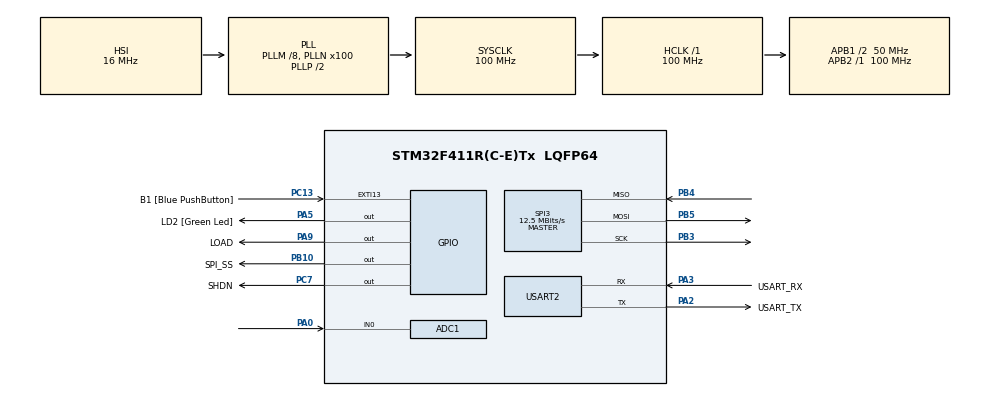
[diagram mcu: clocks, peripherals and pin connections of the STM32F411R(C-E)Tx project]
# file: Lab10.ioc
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Mcu.Family=STM32F4
PB10.PinState=GPIO_PIN_SET
RCC.CortexFreq_Value=100000000
SPI3.Direction=SPI_DIRECTION_2LINES
SPI3.VirtualType=VM_MASTER
PA14.GPIO_Label=TCK
RCC.SYSCLKSource=RCC_SYSCLKSOURCE_PLLCLK
ProjectManager.StackSize=0x400
NVIC.ADC_IRQn=true\:0\:0\:false\:false\:true\:true\:true
PH0\ -\ OSC_IN.Signal=RCC_OSC_IN
RCC.RCC_RTC_Clock_Source=RCC_RTCCLKSOURCE_LSI
RCC.HCLKFreq_Value=100000000
RCC.APB2TimFreq_Value=100000000
TIM3.Period=100
Dma.ADC1.0.Direction=DMA_PERIPH_TO_MEMORY
PC7.Signal=GPIO_Output
ADC1.InjNumberOfConversion=1
NVIC.DMA2_Stream0_IRQn=true\:0\:0\:false\:false\:true\:false\:true
Dma.ADC1.0.MemDataAlignment=DMA_MDATAALIGN_HALFWORD
RCC.AHBFreq_Value=100000000
SPI3.DataSize=SPI_DATASIZE_16BIT
ADC1.Channel-0\#ChannelRegularConversion=ADC_CHANNEL_0
NVIC.TIM1_TRG_COM_TIM11_IRQn=true\:0\:0\:false\:false\:true\:true\:true
RCC.HSE_VALUE=8000000
PB3.Mode=Full_Duplex_Master
ADC1.ScanConvMode=ENABLE
PC13-ANTI_TAMP.Signal=GPXTI13
PB4.Mode=Full_Duplex_Master
PC14-OSC32_IN.Mode=LSE-External-Oscillator
PA14.Mode=Serial_Wire
TIM3.Prescaler=99
Dma.ADC1.0.PeriphInc=DMA_PINC_DISABLE
PB5.Mode=Full_Duplex_Master
PC7.PinState=GPIO_PIN_SET
SH.ADCx_IN0.0=ADC1_IN0,IN0
ADC1.SamplingTime-0\#ChannelRegularConversion=ADC_SAMPLETIME_3CYCLES
RCC.FLatency-AdvancedSettings=FLASH_LATENCY_3
Mcu.Package=LQFP64
SPI3.Mode=SPI_MODE_MASTER
USART2.VirtualMode=VM_ASYNC
ADC1.SamplingTime-1\#ChannelInjectedConversion=ADC_SAMPLETIME_3CYCLES
PA2.GPIO_Label=USART_TX
NVIC.SPI3_IRQn=true\:0\:0\:false\:false\:true\:true\:true
RCC.APB1TimFreq_Value=100000000
Dma.ADC1.0.FIFOMode=DMA_FIFOMODE_DISABLE
Dma.Request0=ADC1
VP_TIM3_VS_ClockSourceINT.Mode=Internal
PB4.Signal=SPI3_MISO
PA3.Signal=USART2_RX
PC15-OSC32_OUT.Mode=LSE-External-Oscillator
Dma.ADC1.0.Instance=DMA2_Stream0
ADC1.Rank-0\#ChannelRegularConversion=1
PC13-ANTI_TAMP.GPIO_Label=B1 [Blue PushButton]
PA9.GPIO_Label=LOAD
PH1\ -\ OSC_OUT.Mode=HSE-External-Clock-Source
TIM11.Prescaler=99
RCC.APB1CLKDivider=RCC_HCLK_DIV2
PC14-OSC32_IN.Signal=RCC_OSC32_IN
NVIC.USART2_IRQn=true\:0\:0\:false\:false\:true\:true\:true
PA0-WKUP.Signal=ADCx_IN0
VP_TIM11_VS_ClockSourceINT.Mode=Enable_Timer
PA13.Signal=SYS_JTMS-SWDIO
PA3.Mode=Asynchronous
Dma.ADC1.0.PeriphDataAlignment=DMA_PDATAALIGN_HALFWORD
PH0\ -\ OSC_IN.Mode=HSE-External-Clock-Source
ProjectManager.TargetToolchain=STM32CubeIDE
PB10.GPIO_Label=SPI_SS
Dma.ADC1.0.Mode=DMA_CIRCULAR
Dma.ADC1.0.Priority=DMA_PRIORITY_LOW
PA9.Signal=GPIO_Output
PA9.PinState=GPIO_PIN_SET
ADC1.Channel-1\#ChannelInjectedConversion=ADC_CHANNEL_0
PC15-OSC32_OUT.Signal=RCC_OSC32_OUT
PB10.Signal=GPIO_Output
PA5.Signal=GPIO_Output
PH1\ -\ OSC_OUT.Signal=RCC_OSC_OUT
board=NUCLEO-F411RE
RCC.VCOOutputFreq_Value=200000000
RCC.APB2Freq_Value=100000000
SPI3.CalculateBaudRate=12.5 MBits/s
ADC1.InjectedOffset-1\#ChannelInjectedConversion=0
SPI3.BaudRatePrescaler=SPI_BAUDRATEPRESCALER_4
RCC.RCC_RTC_Clock_SourceVirtual=RCC_RTCCLKSOURCE_LSI
ADC1.DMAContinuousRequests=ENABLE
PA13.Mode=Serial_Wire
Mcu.Name=STM32F411R(C-E)Tx
PA2.Signal=USART2_TX
PA13.GPIO_Label=TMS
ADC1.ExternalTrigConv=ADC_EXTERNALTRIGCONV_T3_TRGO
PC7.GPIO_Label=SHDN
RCC.48MHZClocksFreq_Value=50000000
PB3.Signal=SPI3_SCK
RCC.SYSCLKFreq_VALUE=100000000
PB5.Signal=SPI3_MOSI
ADC1.master=1
PA5.GPIO_Label=LD2 [Green Led]
PC13-ANTI_TAMP.GPIO_ModeDefaultEXTI=GPIO_MODE_IT_FALLING
PA14.Signal=SYS_JTCK-SWCLK
Dma.ADC1.0.MemInc=DMA_MINC_ENABLE
ProjectManager.HeapSize=0x200
RCC.HSI_VALUE=16000000
NVIC.PriorityGroup=NVIC_PRIORITYGROUP_0
ADC1.NbrOfConversionFlag=1
RCC.PLLM=8
RCC.PLLN=100
PA2.Mode=Asynchronous
ADC1.InjectedRank-1\#ChannelInjectedConversion=1
TIM3.TIM_MasterOutputTrigger=TIM_TRGO_UPDATE
RCC.APB1Freq_Value=50000000
PA3.GPIO_Label=USART_RX

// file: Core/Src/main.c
/* USER CODE BEGIN Header */
/**
 ******************************************************************************
 * @file           : main.c
 * @brief          : Main program body
 ******************************************************************************
 * @attention
 *
 * <h2><center>&copy; Copyright (c) 2021 STMicroelectronics.
 * All rights reserved.</center></h2>
 *
 * This software component is licensed by ST under BSD 3-Clause license,
 * the "License"; You may not use this file except in compliance with the
 * License. You may obtain a copy of the License at:
 *                        opensource.org/licenses/BSD-3-Clause
 *
 ******************************************************************************
 */
/* USER CODE END Header */
#include "main.h"

/* USER CODE BEGIN Includes */
#include <stdio.h>
#include <string.h>
#include <math.h>
/* USER CODE END Includes */

ADC_HandleTypeDef hadc1;
DMA_HandleTypeDef hdma_adc1;

SPI_HandleTypeDef hspi3;

TIM_HandleTypeDef htim3;
TIM_HandleTypeDef htim11;

UART_HandleTypeDef huart2;

/* USER CODE BEGIN PV */
uint16_t ADCin = 0;
uint64_t _micro = 0;
uint16_t dataOut = 0;
uint16_t Sawtooth = 0;
uint8_t DACConfig = 0b0011;
uint64_t Timestat = 0;
int Wave = 0;
int Sin_value=0;
char TxDataBuffer[122] =
{ 0 };
char RxDataBuffer[32] =
{ 0 };
char Status[17]=
{0};
uint8_t Kwarmchan = 0;

int Duty = 50;
float duty_cycle;
int Freq = 10;
float Period_cut=0;
float Pcount = 0;
int V_max =33;
int V_min =0;
uint8_t state =0;
uint8_t ucount=0;
uint8_t pcount=0;
enum Menu{
  Menu_First_Present=0,
  Menu_First,
  Menu_SAWTOOTH_Present=10,
  Menu_SAWTOOTH,
  Menu_SIN_Present=20,
  Menu_SIN,
  Menu_SQUARE_Present =30,
  Menu_SQUARE
};
char error[]="-Error-\r\n--------------------------------\r\n";
/* USER CODE END PV */

void SystemClock_Config(void);
static void MX_GPIO_Init(void);
static void MX_DMA_Init(void);
static void MX_USART2_UART_Init(void);
static void MX_ADC1_Init(void);
static void MX_SPI3_Init(void);
static void MX_TIM3_Init(void);
static void MX_TIM11_Init(void);
/* USER CODE BEGIN PFP */
void MCP4922SetOutput(uint8_t Config, uint16_t DACOutput);
uint64_t micros();
int16_t UARTRecieveIT();
/* USER CODE END PFP */

int main(void)
{

  /* MCU Configuration--------------------------------------------------------*/

  /* Reset of all peripherals, Initializes the Flash interface and the Systick. */
  HAL_Init();

  /* Configure the system clock */
  SystemClock_Config();

  /* Initialize all configured peripherals */
  MX_GPIO_Init();
  MX_DMA_Init();
  MX_USART2_UART_Init();
  MX_ADC1_Init();
  MX_SPI3_Init();
  MX_TIM3_Init();
  MX_TIM11_Init();
  /* USER CODE BEGIN 2 */
	HAL_TIM_Base_Start(&htim3);
	HAL_TIM_Base_Start_IT(&htim11);
	HAL_ADC_Start_DMA(&hadc1, (uint32_t*) &ADCin, 1);

	HAL_GPIO_WritePin(LOAD_GPIO_Port, LOAD_Pin, GPIO_PIN_RESET);
  /* USER CODE END 2 */

  /* Infinite loop */
  /* USER CODE BEGIN WHILE */
	while (1)
	{
		HAL_UART_Receive_IT(&huart2,  (uint8_t*)RxDataBuffer, 32);
				/*Method 2 W/ 1 Char Received*/
		int16_t inputchar = UARTRecieveIT();
		static uint64_t timestamp = 0;
		switch (state)
			{
			   case Menu_First_Present:
				  sprintf(TxDataBuffer,"Function-GEN\r\npress_a_to_SAWTOOTH\r\npress_s_to_SIN\r\npress_d_to_SQUARE\r\n------------\r\n");
				  HAL_UART_Transmit(&huart2, (uint8_t*)TxDataBuffer, strlen(TxDataBuffer),10);
				  state = Menu_First;
				  break;

			   case Menu_First:
				   Wave=0;
					   switch (inputchar)
					   {
					   case 'a':
						   Wave =1;
						 state = Menu_SAWTOOTH_Present;
						 break;
					   case 's':
						   Wave =2;
						 state = Menu_SIN_Present;
						 break;
					   case 'd':
						   Wave =3;
						 state = Menu_SQUARE_Present;
						 break;
					   case -1:
						 break;
					   default:
						  // HAL_UART_Transmit(&huart2, (uint8_t*)error, strlen(error),10);
							state = Menu_First_Present;
						 break;
					   }
					   	break;
			  case Menu_SAWTOOTH_Present:
						 sprintf(TxDataBuffer,"SAWTOOTH-Gen\r\nFrequency(q+/w-)\r\nV-high(r+/t-)\r\nV-low(y+/u-)\r\nSlope Up/Down(c)\r\ne-Exit\r\n------------\r\n");
						 HAL_UART_Transmit(&huart2, (uint8_t*)TxDataBuffer, strlen(TxDataBuffer),10);
						 state = Menu_SAWTOOTH;
						 break;
			 case Menu_SAWTOOTH:
				   switch (inputchar)
				   {
					   case 'q':
						   if(Freq<100)
						   {
							   Freq+=1;
						   }
						   if(Freq<10)
						   {
							sprintf(Status,"Frequency=[0.%d]\r\n",Freq);
						   }
						   else if (Freq>=10)
						   {
							sprintf(Status,"Frequency=[%d.%d]\r\n",Freq/10,Freq%10);
						   }
						   HAL_UART_Transmit(&huart2, (uint8_t*)Status, strlen(Status),10);
						   break;

					   case 'w':

							if(Freq>0)
							{
								Freq-=1;
							}
							if(Freq<10)
							{
							sprintf(Status,"Frequency=[0.%d]\r\n",Freq);
							}
							else if (Freq>=10)
							{
							sprintf(Status,"Frequency=[%d.%d]\r\n",Freq/10,Freq%10);
							}
							HAL_UART_Transmit(&huart2, (uint8_t*)Status, strlen(Status),10);
							break;

					   case 'r':
						   if(V_max<33)
						   {
							   V_max+=1;
						   }
							if(V_max<10){
							   sprintf(Status,"V-HIGH=[0.%d]\r\n",V_max);
						   }else if(V_max>=10)
						   {
							   sprintf(Status,"V-HIGH=[%d.%d]\r\n",V_max/10,V_max%10);
						   }
							HAL_UART_Transmit_IT(&huart2, (uint8_t*)Status, strlen(Status));
						   break;
					   case 't':
						 if(V_max>V_min){
							 V_max-=1;
					    }
						 if(V_max<10){
							  sprintf(Status,"V-HIGH=[0.%d]\r\n",V_max);
						}else if(V_max>=10)
						{
							  sprintf(Status,"V-HIGH=[%d.%d]\r\n",V_max/10,V_max%10);
				        }
						      HAL_UART_Transmit_IT(&huart2, (uint8_t*)Status, strlen(Status));
						     break;
					   case 'y':
							if(V_min<V_max){
							  V_min+=1;
						   }
							if(V_min<10){
							   sprintf(Status,"V-LOW=[0.%d]\r\n",V_min);
							}else if(V_min>=10)
							{
							   sprintf(Status,"V-LOW=[%d.%d]\r\n",V_min/10,V_min%10);
							}
							 HAL_UART_Transmit_IT(&huart2, (uint8_t*)Status, strlen(Status));
							 break;
					   case 'u':
							 if(V_min>0){
							   V_min-=1;
							 }
							 if(V_min<10){
								sprintf(Status,"V-LOW=[0.%d]\r\n",V_min);
							}else if(V_min>=10)
							{
								sprintf(Status,"V-LOW=[%d.%d]\r\n",V_min/10,V_min%10);
							}
							 HAL_UART_Transmit_IT(&huart2, (uint8_t*)Status, strlen(Status));
							break;
					   case 'c':
						   if(Kwarmchan == 0){
							   Kwarmchan=1;
							  sprintf(Status,"SLOPE-UP\r\n");
							  HAL_UART_Transmit_IT(&huart2, (uint8_t*)Status, strlen(Status));
						  }else if(Kwarmchan == 1){
							  Kwarmchan=0;
							  sprintf(Status,"SLOPE-DOWN\r\n");
						  }
							  HAL_UART_Transmit_IT(&huart2, (uint8_t*)Status, strlen(Status));
						   break;
					   case 'e':
						 state = Menu_First_Present;
						 break;
					   case -1:
						 break;
					   default:
						   HAL_UART_Transmit(&huart2, (uint8_t*)error, strlen(error),10);
						   state = Menu_SAWTOOTH_Present;
						 break;
				   }
				   break;

		   case Menu_SIN_Present:
						 sprintf(TxDataBuffer,"SIN_WAVE-Gen\r\nFrequency(q+/w-)\r\nV-high(r+/t-)\r\nV-low(y+/u-)\r\ne-Exit\r\n------------\r\n");
						 HAL_UART_Transmit(&huart2, (uint8_t*)TxDataBuffer, strlen(TxDataBuffer),10);
						 state = Menu_SIN;
						 break;
		   case Menu_SIN:
				   switch (inputchar)
				   {
					case 'q':
						   if(Freq<100){
							  Freq+=1;
						   }
						   if(Freq<10){
							sprintf(Status,"Frequency=[0.%d]\r\n",Freq);
						   }else if(Freq>=10)
						   {
							sprintf(Status,"Frequency=[%d.%d]\r\n",Freq/10,Freq%10);
						   }
						   HAL_UART_Transmit(&huart2, (uint8_t*)Status, strlen(Status),10);
						   break;
				   case 'w':
							if(Freq>0){
								 Freq-=1;
							}
							if(Freq<10){
							   sprintf(Status,"Frequency=[0.%d]\r\n",Freq);
							}else if(Freq>=10)
							{
							   sprintf(Status,"Frequency=[%d.%d]\r\n",Freq/10,Freq%10);
							}
							 HAL_UART_Transmit(&huart2, (uint8_t*)Status, strlen(Status),10);
							break;
				   case 'r':
						   if(V_max<33){
							   V_max+=1;
						   }
							if(V_max<10){
							   sprintf(Status,"V-HIGH=[0.%d]\r\n",V_max);
						   }else if(V_max>=10)
						   {
							   sprintf(Status,"V-HIGH=[%d.%d]\r\n",V_max/10,V_max%10);
						   }
							HAL_UART_Transmit_IT(&huart2, (uint8_t*)Status, strlen(Status));
						   break;
				   case 't':
							 if(V_max>V_min){
								V_max-=1;
							  }
							 if(V_max<10){
								  sprintf(Status,"V-HIGH=[0.%d]\r\n",V_max);
							}else if(V_max>=10)
							{
								  sprintf(Status,"V-HIGH=[%d.%d]\r\n",V_max/10,V_max%10);
							}
							   HAL_UART_Transmit_IT(&huart2, (uint8_t*)Status, strlen(Status));
							   break;
				   case 'y':
							if(V_min<V_max){
							   V_min+=1;
						   }
							if(V_min<10){
							   sprintf(Status,"V-LOW=[0.%d]\r\n",V_min);
							}else if(V_min>=10)
							{
							   sprintf(Status,"V-LOW=[%d.%d]\r\n",V_min/10,V_min%10);
							}
							 HAL_UART_Transmit_IT(&huart2, (uint8_t*)Status, strlen(Status));
							 break;
				   case 'u':
							 if(V_min>0){
								V_min-=1;
							}
							 if(V_min<10){
								sprintf(Status,"V-LOW=[0.%d]\r\n",V_min);
							}else if(V_min>=10)
							{
								sprintf(Status,"V-LOW=[%d.%d]\r\n",V_min/10,V_min%10);
							}
							 HAL_UART_Transmit_IT(&huart2, (uint8_t*)Status, strlen(Status));
							break;
				   case 'e':
							 state = Menu_First_Present;
							break;
				   case -1:
							break;
				   default:
						   HAL_UART_Transmit(&huart2, (uint8_t*)error, strlen(error),10);
						   state = Menu_SIN_Present;
						   break;
				   }
				   break;
		   case Menu_SQUARE_Present:
		   		sprintf(TxDataBuffer,"SQUARE-Gen\r\nFreq(q+/w-)\r\nV-high(r+/t-)\r\nV-low(y+/u-)\r\nDUTY(i+/o-)\r\ne-Exit\r\n------------\r\n");
		   		HAL_UART_Transmit(&huart2, (uint8_t*)TxDataBuffer, strlen(TxDataBuffer),10);
		   		state = Menu_SQUARE;
		   		break;
		   case Menu_SQUARE:
				switch (inputchar)
					{
					 case 'q':
							 if(Freq<100){
								Freq += 1;
							}else{
							}
							 if(Freq<10)
							{
								sprintf(Status,"Frequency=[0.%d]\r\n",Freq);
							}else if(Freq>=10)\
							{
							 sprintf(Status,"Frequency=[%d.%d]\r\n",Freq/10,Freq%10);
							}
							 HAL_UART_Transmit(&huart2, (uint8_t*)Status, strlen(Status),10);
							 break;
					 case 'w':
							 if(Freq>0){
								 Freq-=1;
							}
							  if(Freq<10)
							 {
								 sprintf(Status,"Frequency=[0.%d]\r\n",Freq);
							 }else if(Freq>=10)
							 {
								 sprintf(Status,"Frequency=[%d.%d]\r\n",Freq/10,Freq%10);
							 }
							  HAL_UART_Transmit(&huart2, (uint8_t*)Status, strlen(Status),10);
							 break;
					case 'r':
							  if(V_max<33){
								 V_max+=1;
							 }
							  if(V_max<10){
								 sprintf(Status,"V-HIGH=[0.%d]\r\n",V_max);
							 }else if(V_max>=10)
							 {
								 sprintf(Status,"V-HIGH=[%d.%d]\r\n",V_max/10,V_max%10);
							 }
							  HAL_UART_Transmit_IT(&huart2, (uint8_t*)Status, strlen(Status));
							 break;
					case 't':
							 if(V_max>V_min){
								 V_max-=1;
							}
							 if(V_max<10){
								sprintf(Status,"V-HIGH=[0.%d]\r\n",V_max);
							}else{
								sprintf(Status,"V-HIGH=[%d.%d]\r\n",V_max/10,V_max%10);
							}
							 HAL_UART_Transmit_IT(&huart2, (uint8_t*)Status, strlen(Status));
							 break;
					case 'y':
							 if(V_min<V_max){
								V_min+=1;
							}
							 if(V_min<10){
								sprintf(Status,"V-LOW=[0.%d]\r\n",V_min);
							}else if(V_min>=10){
								sprintf(Status,"V-LOW=[%d.%d]\r\n",V_min/10,V_min%10);
							}
								HAL_UART_Transmit_IT(&huart2, (uint8_t*)Status, strlen(Status));
							 break;
					case 'u':
							 if(V_min>0){
								V_min-=1;
							}
							  if(V_min<10){
								 sprintf(Status,"V-LOW=[0.%d]\r\n",V_min);
							 }else if(V_min>=10){
								 sprintf(Status,"V-LOW=[%d.%d]\r\n",V_min/10,V_min%10);
							 }
								 HAL_UART_Transmit_IT(&huart2, (uint8_t*)Status, strlen(Status));
								break;
					case 'e':
							state = Menu_First_Present;
							break;
					case 'i':
							if(Duty<100){
							   Duty+=1;
						   }
							sprintf(Status,"DUTY=[%d]\r\n",Duty);
							HAL_UART_Transmit_IT(&huart2, (uint8_t*)Status, strlen(Status));
							break;
					 case 'o':
							if(Duty>0){
								Duty-=1;
						   }
							sprintf(Status,"DUTY=[%d]\r\n",Duty);
							HAL_UART_Transmit_IT(&huart2, (uint8_t*)Status, strlen(Status));
							break;
					case -1:
							break;
					default:
							HAL_UART_Transmit(&huart2, (uint8_t*)error, strlen(error),10);
							state = Menu_SQUARE_Present;
						   break;
					   }
			   break;
			   }
		if (micros() - timestamp > 100)
		{
			timestamp = micros();
			Pcount +=0.0001;
			if(Freq!=0){
				float freq = Freq;
			if(Pcount>=(10/freq)){
								Pcount = 0;
							}
			}
			if(Wave==1){
				Sawtooth =0.0000001*timestamp*4095*Freq;//genslope
				if(Kwarmchan==1){
				Sawtooth = Sawtooth%4095;//slope-cut
				}else if(Kwarmchan==0)
				{
					Sawtooth %= 4095;
					Sawtooth =4095-Sawtooth;
					//dataOut--;
				if(Sawtooth<=0){
					Sawtooth = 4095 ;//resetslope
				}
				}
				Sawtooth = Sawtooth*(V_max-V_min)/33; //amplify
				dataOut = Sawtooth+(V_min*4095)/33; //offset
			}else if(Wave==2){
				Sin_value = 2048*sin(2*3.14*Freq*0.0000001*timestamp);//sin(2*pi*f*t)
				Sin_value = Sin_value*(V_max-V_min)/33; //amplify
				dataOut = Sin_value+(409.6*(V_max+V_min)/6.6); //offset
			}else if(Wave==3 && Freq!=0){
				duty_cycle=Duty;
				Period_cut = duty_cycle/(10*Freq);
				if(Pcount<=Period_cut){
					dataOut = 4095*V_max/33;
				}
				else if(Pcount>Period_cut){
					dataOut = 4095*V_min/33;
				}
			}else{
				dataOut = 4095;
			}

			if (hspi3.State == HAL_SPI_STATE_READY
					&& HAL_GPIO_ReadPin(SPI_SS_GPIO_Port, SPI_SS_Pin)
							== GPIO_PIN_SET)
			{
				MCP4922SetOutput(DACConfig, dataOut);
			}
		}
    /* USER CODE END WHILE */

	}
}

void SystemClock_Config(void)
{
  RCC_OscInitTypeDef RCC_OscInitStruct = {0};
  RCC_ClkInitTypeDef RCC_ClkInitStruct = {0};

  /** Configure the main internal regulator output voltage
  */
  __HAL_RCC_PWR_CLK_ENABLE();
  __HAL_PWR_VOLTAGESCALING_CONFIG(PWR_REGULATOR_VOLTAGE_SCALE1);
  /** Initializes the RCC Oscillators according to the specified parameters
  * in the RCC_OscInitTypeDef structure.
  */
  RCC_OscInitStruct.OscillatorType = RCC_OSCILLATORTYPE_HSI;
  RCC_OscInitStruct.HSIState = RCC_HSI_ON;
  RCC_OscInitStruct.HSICalibrationValue = RCC_HSICALIBRATION_DEFAULT;
  RCC_OscInitStruct.PLL.PLLState = RCC_PLL_ON;
  RCC_OscInitStruct.PLL.PLLSource = RCC_PLLSOURCE_HSI;
  RCC_OscInitStruct.PLL.PLLM = 8;
  RCC_OscInitStruct.PLL.PLLN = 100;
  RCC_OscInitStruct.PLL.PLLP = RCC_PLLP_DIV2;
  RCC_OscInitStruct.PLL.PLLQ = 4;
  if (HAL_RCC_OscConfig(&RCC_OscInitStruct) != HAL_OK)
  {
    Error_Handler();
  }
  /** Initializes the CPU, AHB and APB buses clocks
  */
  RCC_ClkInitStruct.ClockType = RCC_CLOCKTYPE_HCLK|RCC_CLOCKTYPE_SYSCLK
                              |RCC_CLOCKTYPE_PCLK1|RCC_CLOCKTYPE_PCLK2;
  RCC_ClkInitStruct.SYSCLKSource = RCC_SYSCLKSOURCE_PLLCLK;
  RCC_ClkInitStruct.AHBCLKDivider = RCC_SYSCLK_DIV1;
  RCC_ClkInitStruct.APB1CLKDivider = RCC_HCLK_DIV2;
  RCC_ClkInitStruct.APB2CLKDivider = RCC_HCLK_DIV1;

  if (HAL_RCC_ClockConfig(&RCC_ClkInitStruct, FLASH_LATENCY_3) != HAL_OK)
  {
    Error_Handler();
  }
}

static void MX_ADC1_Init(void)
{

  ADC_ChannelConfTypeDef sConfig = {0};
  ADC_InjectionConfTypeDef sConfigInjected = {0};

  /** Configure the global features of the ADC (Clock, Resolution, Data Alignment and number of conversion)
  */
  hadc1.Instance = ADC1;
  hadc1.Init.ClockPrescaler = ADC_CLOCK_SYNC_PCLK_DIV4;
  hadc1.Init.Resolution = ADC_RESOLUTION_12B;
  hadc1.Init.ScanConvMode = ENABLE;
  hadc1.Init.ContinuousConvMode = DISABLE;
  hadc1.Init.DiscontinuousConvMode = DISABLE;
  hadc1.Init.ExternalTrigConvEdge = ADC_EXTERNALTRIGCONVEDGE_RISING;
  hadc1.Init.ExternalTrigConv = ADC_EXTERNALTRIGCONV_T3_TRGO;
  hadc1.Init.DataAlign = ADC_DATAALIGN_RIGHT;
  hadc1.Init.NbrOfConversion = 1;
  hadc1.Init.DMAContinuousRequests = ENABLE;
  hadc1.Init.EOCSelection = ADC_EOC_SINGLE_CONV;
  if (HAL_ADC_Init(&hadc1) != HAL_OK)
  {
    Error_Handler();
  }
  /** Configure for the selected ADC regular channel its corresponding rank in the sequencer and its sample time.
  */
  sConfig.Channel = ADC_CHANNEL_0;
  sConfig.Rank = 1;
  sConfig.SamplingTime = ADC_SAMPLETIME_3CYCLES;
  if (HAL_ADC_ConfigChannel(&hadc1, &sConfig) != HAL_OK)
  {
    Error_Handler();
  }
  /** Configures for the selected ADC injected channel its corresponding rank in the sequencer and its sample time
  */
  sConfigInjected.InjectedChannel = ADC_CHANNEL_0;
  sConfigInjected.InjectedRank = 1;
  sConfigInjected.InjectedNbrOfConversion = 1;
  sConfigInjected.InjectedSamplingTime = ADC_SAMPLETIME_3CYCLES;
  sConfigInjected.ExternalTrigInjecConvEdge = ADC_EXTERNALTRIGINJECCONVEDGE_NONE;
  sConfigInjected.ExternalTrigInjecConv = ADC_INJECTED_SOFTWARE_START;
  sConfigInjected.AutoInjectedConv = DISABLE;
  sConfigInjected.InjectedDiscontinuousConvMode = DISABLE;
  sConfigInjected.InjectedOffset = 0;
  if (HAL_ADCEx_InjectedConfigChannel(&hadc1, &sConfigInjected) != HAL_OK)
  {
    Error_Handler();
  }

}

static void MX_SPI3_Init(void)
{

  /* SPI3 parameter configuration*/
  hspi3.Instance = SPI3;
  hspi3.Init.Mode = SPI_MODE_MASTER;
  hspi3.Init.Direction = SPI_DIRECTION_2LINES;
  hspi3.Init.DataSize = SPI_DATASIZE_16BIT;
  hspi3.Init.CLKPolarity = SPI_POLARITY_LOW;
  hspi3.Init.CLKPhase = SPI_PHASE_1EDGE;
  hspi3.Init.NSS = SPI_NSS_SOFT;
  hspi3.Init.BaudRatePrescaler = SPI_BAUDRATEPRESCALER_4;
  hspi3.Init.FirstBit = SPI_FIRSTBIT_MSB;
  hspi3.Init.TIMode = SPI_TIMODE_DISABLE;
  hspi3.Init.CRCCalculation = SPI_CRCCALCULATION_DISABLE;
  hspi3.Init.CRCPolynomial = 10;
  if (HAL_SPI_Init(&hspi3) != HAL_OK)
  {
    Error_Handler();
  }

}

static void MX_TIM3_Init(void)
{

  TIM_ClockConfigTypeDef sClockSourceConfig = {0};
  TIM_MasterConfigTypeDef sMasterConfig = {0};

  htim3.Instance = TIM3;
  htim3.Init.Prescaler = 99;
  htim3.Init.CounterMode = TIM_COUNTERMODE_UP;
  htim3.Init.Period = 100;
  htim3.Init.ClockDivision = TIM_CLOCKDIVISION_DIV1;
  htim3.Init.AutoReloadPreload = TIM_AUTORELOAD_PRELOAD_DISABLE;
  if (HAL_TIM_Base_Init(&htim3) != HAL_OK)
  {
    Error_Handler();
  }
  sClockSourceConfig.ClockSource = TIM_CLOCKSOURCE_INTERNAL;
  if (HAL_TIM_ConfigClockSource(&htim3, &sClockSourceConfig) != HAL_OK)
  {
    Error_Handler();
  }
  sMasterConfig.MasterOutputTrigger = TIM_TRGO_UPDATE;
  sMasterConfig.MasterSlaveMode = TIM_MASTERSLAVEMODE_DISABLE;
  if (HAL_TIMEx_MasterConfigSynchronization(&htim3, &sMasterConfig) != HAL_OK)
  {
    Error_Handler();
  }

}

static void MX_TIM11_Init(void)
{

  htim11.Instance = TIM11;
  htim11.Init.Prescaler = 99;
  htim11.Init.CounterMode = TIM_COUNTERMODE_UP;
  htim11.Init.Period = 65535;
  htim11.Init.ClockDivision = TIM_CLOCKDIVISION_DIV1;
  htim11.Init.AutoReloadPreload = TIM_AUTORELOAD_PRELOAD_DISABLE;
  if (HAL_TIM_Base_Init(&htim11) != HAL_OK)
  {
    Error_Handler();
  }

}

static void MX_USART2_UART_Init(void)
{

  huart2.Instance = USART2;
  huart2.Init.BaudRate = 115200;
  huart2.Init.WordLength = UART_WORDLENGTH_8B;
  huart2.Init.StopBits = UART_STOPBITS_1;
  huart2.Init.Parity = UART_PARITY_NONE;
  huart2.Init.Mode = UART_MODE_TX_RX;
  huart2.Init.HwFlowCtl = UART_HWCONTROL_NONE;
  huart2.Init.OverSampling = UART_OVERSAMPLING_16;
  if (HAL_UART_Init(&huart2) != HAL_OK)
  {
    Error_Handler();
  }

}

static void MX_DMA_Init(void)
{

  /* DMA controller clock enable */
  __HAL_RCC_DMA2_CLK_ENABLE();

  /* DMA interrupt init */
  /* DMA2_Stream0_IRQn interrupt configuration */
  HAL_NVIC_SetPriority(DMA2_Stream0_IRQn, 0, 0);
  HAL_NVIC_EnableIRQ(DMA2_Stream0_IRQn);

}

static void MX_GPIO_Init(void)
{
  GPIO_InitTypeDef GPIO_InitStruct = {0};

  /* GPIO Ports Clock Enable */
  __HAL_RCC_GPIOC_CLK_ENABLE();
  __HAL_RCC_GPIOH_CLK_ENABLE();
  __HAL_RCC_GPIOA_CLK_ENABLE();
  __HAL_RCC_GPIOB_CLK_ENABLE();

  /*Configure GPIO pin Output Level */
  HAL_GPIO_WritePin(LD2_GPIO_Port, LD2_Pin, GPIO_PIN_RESET);

  /*Configure GPIO pin Output Level */
  HAL_GPIO_WritePin(SPI_SS_GPIO_Port, SPI_SS_Pin, GPIO_PIN_SET);

  /*Configure GPIO pin Output Level */
  HAL_GPIO_WritePin(SHDN_GPIO_Port, SHDN_Pin, GPIO_PIN_SET);

  /*Configure GPIO pin Output Level */
  HAL_GPIO_WritePin(LOAD_GPIO_Port, LOAD_Pin, GPIO_PIN_SET);

  /*Configure GPIO pin : B1_Pin */
  GPIO_InitStruct.Pin = B1_Pin;
  GPIO_InitStruct.Mode = GPIO_MODE_IT_FALLING;
  GPIO_InitStruct.Pull = GPIO_NOPULL;
  HAL_GPIO_Init(B1_GPIO_Port, &GPIO_InitStruct);

  /*Configure GPIO pins : LD2_Pin LOAD_Pin */
  GPIO_InitStruct.Pin = LD2_Pin|LOAD_Pin;
  GPIO_InitStruct.Mode = GPIO_MODE_OUTPUT_PP;
  GPIO_InitStruct.Pull = GPIO_NOPULL;
  GPIO_InitStruct.Speed = GPIO_SPEED_FREQ_LOW;
  HAL_GPIO_Init(GPIOA, &GPIO_InitStruct);

  /*Configure GPIO pin : SPI_SS_Pin */
  GPIO_InitStruct.Pin = SPI_SS_Pin;
  GPIO_InitStruct.Mode = GPIO_MODE_OUTPUT_PP;
  GPIO_InitStruct.Pull = GPIO_NOPULL;
  GPIO_InitStruct.Speed = GPIO_SPEED_FREQ_LOW;
  HAL_GPIO_Init(SPI_SS_GPIO_Port, &GPIO_InitStruct);

  /*Configure GPIO pin : SHDN_Pin */
  GPIO_InitStruct.Pin = SHDN_Pin;
  GPIO_InitStruct.Mode = GPIO_MODE_OUTPUT_PP;
  GPIO_InitStruct.Pull = GPIO_NOPULL;
  GPIO_InitStruct.Speed = GPIO_SPEED_FREQ_LOW;
  HAL_GPIO_Init(SHDN_GPIO_Port, &GPIO_InitStruct);

}

/* USER CODE BEGIN 4 */
int16_t UARTRecieveIT()
{
	static uint32_t dataPos =0;
	int16_t data=-1;
	if(huart2.RxXferSize - huart2.RxXferCount!=dataPos)
	{
		data=RxDataBuffer[dataPos];
		dataPos= (dataPos+1)%huart2.RxXferSize;
	}
	return data;
}
void MCP4922SetOutput(uint8_t Config, uint16_t DACOutput)
{
	uint32_t OutputPacket = (DACOutput & 0x0fff) | ((Config & 0xf) << 12);
	HAL_GPIO_WritePin(SPI_SS_GPIO_Port, SPI_SS_Pin, GPIO_PIN_RESET);
	HAL_SPI_Transmit_IT(&hspi3, &OutputPacket, 1);
}

void HAL_SPI_TxCpltCallback(SPI_HandleTypeDef *hspi)
{
	if (hspi == &hspi3)
	{
		HAL_GPIO_WritePin(SPI_SS_GPIO_Port, SPI_SS_Pin, GPIO_PIN_SET);
	}
}

void HAL_TIM_PeriodElapsedCallback(TIM_HandleTypeDef *htim)
{
	if (htim == &htim11)
	{
		_micro += 65535;
	}
}

inline uint64_t micros()
{
	return htim11.Instance->CNT + _micro;
}
/* USER CODE END 4 */

void Error_Handler(void)
{
	__disable_irq();
	while (1)
	{
	}
}

/************************ (C) COPYRIGHT STMicroelectronics *****END OF FILE****/
